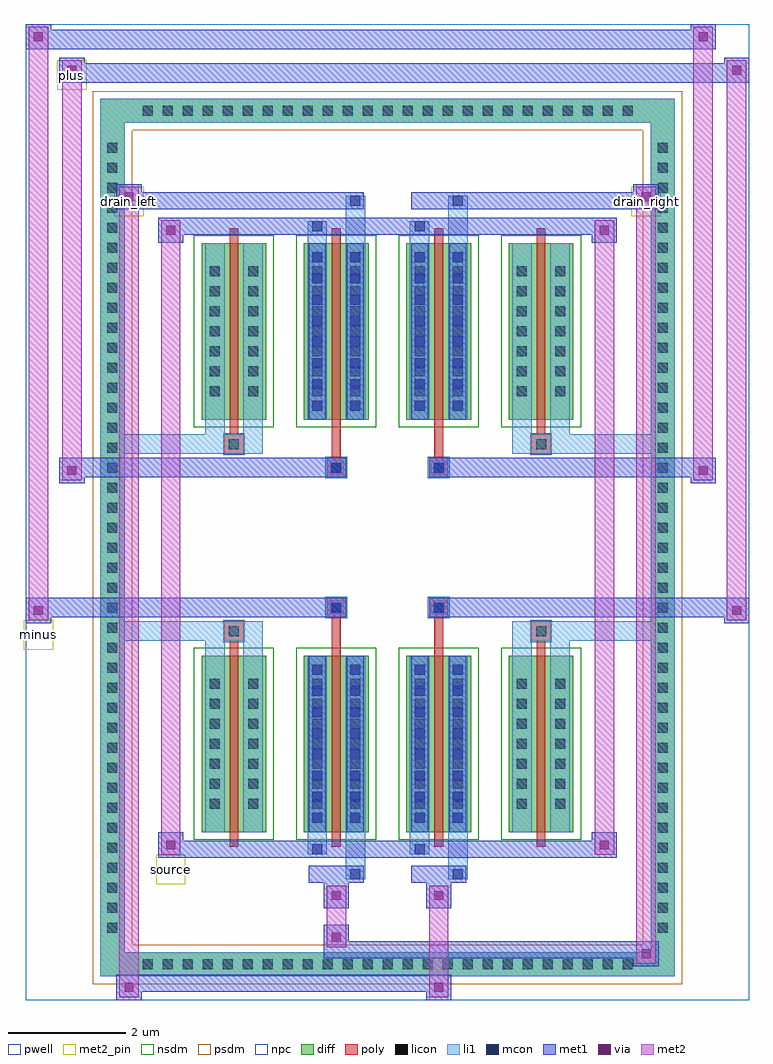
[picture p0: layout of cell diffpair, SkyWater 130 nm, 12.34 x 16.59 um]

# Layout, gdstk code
import gdstk
lib = gdstk.Library(unit=1e-6, precision=5e-09)
def R(c, l, rs):  # rectangles x0, y0, x1, y1
    for r in rs: c.add(gdstk.rectangle(r[:2], r[2:], *l))
def A(c, l, x, y, w, h, nx, ny, dx, dy):  # array of equal rectangles
    R(c, l, [(x+i*dx, y+j*dy, x+i*dx+w, y+j*dy+h) for i in range(nx) for j in range(ny)])
def P(c, l, *ps):  # polygons
    for p in ps: c.add(gdstk.Polygon(p, *l))
pwell = (64, 44)
diff = (65, 20)
poly = (66, 20)
licon = (66, 44)
li1 = (67, 20)
mcon = (67, 44)
met1 = (68, 20)
via = (68, 44)
met2_pin = (69, 16)
met2 = (69, 20)
nsdm = (93, 44)
psdm = (94, 20)
npc = (95, 20)

diffpair = lib.new_cell('diffpair')
R(diffpair, pwell, [(-6.15,-7.86,6.15,8.73), (-3.47,-6.05,-0.01,-0.825), (0.01,-6.05,3.47,-0.825), (-3.47,0.825,-0.01,6.05), (0.01,0.825,3.47,6.05)])
A(diffpair, diff, -4.285, -7.46, 0.41, 0.41, 25, 2, 0.34, 14.51)
A(diffpair, diff, -4.88, -6.835, 0.41, 0.41, 1, 40, 0, 0.34)
A(diffpair, diff, 4.47, -6.835, 0.41, 0.41, 1, 40, 0, 0.34)
A(diffpair, diff, -3.16, -5.005, 1.1, 3, 4, 2, 1.74, 7.01)
R(diffpair, diff, [(-4.285,-7.46,4.285,-7.05), (-4.88,-6.835,-4.47,6.835), (4.47,-6.835,4.88,6.835), (-4.285,7.05,4.285,7.46)])
P(diffpair, diff, [(4.88,7.46),(-4.88,7.46),(-4.88,-7.05),(-4.47,-7.05),(-4.47,7.05),(4.47,7.05),(4.47,-7.05),(-4.47,-7.05),(-4.88,-7.05),(-4.88,-7.46),(4.88,-7.46)])
A(diffpair, poly, -2.685, -5.255, 0.15, 3.5, 4, 2, 1.74, 7.01)
R(diffpair, poly, [(-2.775,-1.755,-2.445,-1.425), (-2.775,-1.755,-2.445,-1.425), (-0.945,-1.755,-0.795,-1.355), (0.795,-1.755,0.945,-1.355), (2.445,-1.755,2.775,-1.425), (2.445,-1.755,2.775,-1.425), (-1.035,-1.355,-0.705,-1.025), (-1.035,-1.355,-0.705,-1.025), (0.705,-1.355,1.035,-1.025), (0.705,-1.355,1.035,-1.025), (-1.035,1.025,-0.705,1.355), (-1.035,1.025,-0.705,1.355), (0.705,1.025,1.035,1.355), (0.705,1.025,1.035,1.355), (-0.945,1.355,-0.795,1.755), (0.795,1.355,0.945,1.755), (-2.775,1.425,-2.445,1.755), (-2.775,1.425,-2.445,1.755), (2.445,1.425,2.775,1.755), (2.445,1.425,2.775,1.755)])
A(diffpair, licon, -4.165, -7.34, 0.17, 0.17, 25, 2, 0.34, 14.51)
A(diffpair, licon, -4.76, -6.715, 0.17, 0.17, 1, 40, 0, 0.34)
A(diffpair, licon, 4.59, -6.715, 0.17, 0.17, 1, 40, 0, 0.34)
A(diffpair, licon, -3.02, -4.61, 0.17, 0.17, 1, 7, 0, 0.34)
A(diffpair, licon, -2.37, -4.61, 0.17, 0.17, 1, 7, 0, 0.34)
A(diffpair, licon, -1.28, -4.61, 0.17, 0.17, 1, 7, 0, 0.34)
A(diffpair, licon, -0.63, -4.61, 0.17, 0.17, 1, 7, 0, 0.34)
A(diffpair, licon, 0.46, -4.61, 0.17, 0.17, 1, 7, 0, 0.34)
A(diffpair, licon, 1.11, -4.61, 0.17, 0.17, 1, 7, 0, 0.34)
A(diffpair, licon, 2.2, -4.61, 0.17, 0.17, 1, 7, 0, 0.34)
A(diffpair, licon, 2.85, -4.61, 0.17, 0.17, 1, 7, 0, 0.34)
A(diffpair, licon, -3.02, 2.4, 0.17, 0.17, 1, 7, 0, 0.34)
A(diffpair, licon, -2.37, 2.4, 0.17, 0.17, 1, 7, 0, 0.34)
A(diffpair, licon, -1.28, 2.4, 0.17, 0.17, 1, 7, 0, 0.34)
A(diffpair, licon, -0.63, 2.4, 0.17, 0.17, 1, 7, 0, 0.34)
A(diffpair, licon, 0.46, 2.4, 0.17, 0.17, 1, 7, 0, 0.34)
A(diffpair, licon, 1.11, 2.4, 0.17, 0.17, 1, 7, 0, 0.34)
A(diffpair, licon, 2.2, 2.4, 0.17, 0.17, 1, 7, 0, 0.34)
A(diffpair, licon, 2.85, 2.4, 0.17, 0.17, 1, 7, 0, 0.34)
R(diffpair, licon, [(-2.695,-1.675,-2.525,-1.505), (2.525,-1.675,2.695,-1.505), (-0.955,-1.275,-0.785,-1.105), (0.785,-1.275,0.955,-1.105), (-0.955,1.105,-0.785,1.275), (0.785,1.105,0.955,1.275), (-2.695,1.505,-2.525,1.675), (2.525,1.505,2.695,1.675)])
A(diffpair, li1, -4.245, -7.42, 0.33, 0.33, 25, 2, 0.34, 14.51)
A(diffpair, li1, -4.84, -6.795, 0.33, 0.33, 1, 40, 0, 0.34)
A(diffpair, li1, 4.51, -6.795, 0.33, 0.33, 1, 40, 0, 0.34)
A(diffpair, li1, -1.28, -4.85, 0.17, 0.17, 1, 8, 0, 0.36)
A(diffpair, li1, -0.63, -4.85, 0.17, 0.17, 1, 8, 0, 0.36)
A(diffpair, li1, 0.46, -4.85, 0.17, 0.17, 1, 8, 0, 0.36)
A(diffpair, li1, 1.11, -4.85, 0.17, 0.17, 1, 8, 0, 0.36)
A(diffpair, li1, -3.1, -4.69, 0.33, 0.33, 1, 7, 0, 0.34)
A(diffpair, li1, -2.45, -4.69, 0.33, 0.33, 1, 7, 0, 0.34)
A(diffpair, li1, -1.36, -4.69, 0.33, 0.33, 1, 7, 0, 0.34)
A(diffpair, li1, -0.71, -4.69, 0.33, 0.33, 1, 7, 0, 0.34)
A(diffpair, li1, 0.38, -4.69, 0.33, 0.33, 1, 7, 0, 0.34)
A(diffpair, li1, 1.03, -4.69, 0.33, 0.33, 1, 7, 0, 0.34)
A(diffpair, li1, 2.12, -4.69, 0.33, 0.33, 1, 7, 0, 0.34)
A(diffpair, li1, 2.77, -4.69, 0.33, 0.33, 1, 7, 0, 0.34)
A(diffpair, li1, -1.28, 2.16, 0.17, 0.17, 1, 8, 0, 0.36)
A(diffpair, li1, -0.63, 2.16, 0.17, 0.17, 1, 8, 0, 0.36)
A(diffpair, li1, 0.46, 2.16, 0.17, 0.17, 1, 8, 0, 0.36)
A(diffpair, li1, 1.11, 2.16, 0.17, 0.17, 1, 8, 0, 0.36)
A(diffpair, li1, -3.1, 2.32, 0.33, 0.33, 1, 7, 0, 0.34)
A(diffpair, li1, -2.45, 2.32, 0.33, 0.33, 1, 7, 0, 0.34)
A(diffpair, li1, -1.36, 2.32, 0.33, 0.33, 1, 7, 0, 0.34)
A(diffpair, li1, -0.71, 2.32, 0.33, 0.33, 1, 7, 0, 0.34)
A(diffpair, li1, 0.38, 2.32, 0.33, 0.33, 1, 7, 0, 0.34)
A(diffpair, li1, 1.03, 2.32, 0.33, 0.33, 1, 7, 0, 0.34)
A(diffpair, li1, 2.12, 2.32, 0.33, 0.33, 1, 7, 0, 0.34)
A(diffpair, li1, 2.77, 2.32, 0.33, 0.33, 1, 7, 0, 0.34)
R(diffpair, li1, [(-4.88,-7.46,-4.47,-7.05), (-4.88,-7.46,-4.47,-7.05), (-4.47,-7.46,4.47,-7.05), (4.47,-7.46,4.88,-7.05), (4.47,-7.46,4.88,-7.05), (-4.88,-7.05,-4.47,7.05), (4.47,-7.05,4.88,7.05), (-0.71,-5.81,-0.38,-5.005), (-0.63,-5.81,-0.46,-5.64), (1.03,-5.81,1.36,-5.005), (1.11,-5.81,1.28,-5.64), (-1.36,-5.38,-1.03,-5.005), (-1.28,-5.38,-1.11,-5.21), (0.38,-5.38,0.71,-5.005), (0.46,-5.38,0.63,-5.21), (-3.1,-5.005,-2.77,-2.005), (-2.45,-5.005,-2.12,-2.005), (-1.36,-5.005,-1.03,-2.005), (-0.71,-5.005,-0.38,-2.005), (0.38,-5.005,0.71,-2.005), (1.03,-5.005,1.36,-2.005), (2.12,-5.005,2.45,-2.005), (2.77,-5.005,3.1,-2.005), (-1.28,-4.85,-1.11,-2.16), (-0.63,-4.85,-0.46,-2.16), (0.46,-4.85,0.63,-2.16), (1.11,-4.85,1.28,-2.16), (-3.1,-2.005,-2.77,-1.425), (-2.45,-2.005,-2.12,-1.425), (2.12,-2.005,2.45,-1.425), (2.77,-2.005,3.1,-1.425), (-4.88,-1.755,-2.775,-1.425), (-3.1,-1.755,-2.775,-1.425), (-2.775,-1.755,-2.445,-1.425), (-2.445,-1.755,-2.12,-1.425), (2.12,-1.755,2.445,-1.425), (2.445,-1.755,2.775,-1.425), (2.445,-1.755,4.88,-1.425), (2.775,-1.755,3.1,-1.425), (-1.035,-1.355,-0.705,-1.025), (0.705,-1.355,1.035,-1.025), (-1.035,1.025,-0.705,1.355), (0.705,1.025,1.035,1.355), (-4.88,1.425,-2.775,1.755), (-3.1,1.425,-2.775,1.755), (-3.1,1.425,-2.77,2.005), (-2.775,1.425,-2.445,1.755), (-2.45,1.425,-2.12,2.005), (-2.445,1.425,-2.12,1.755), (2.12,1.425,2.445,1.755), (2.12,1.425,2.45,2.005), (2.445,1.425,2.775,1.755), (2.445,1.425,4.88,1.755), (2.77,1.425,3.1,2.005), (2.775,1.425,3.1,1.755), (-3.1,2.005,-2.77,5.005), (-2.45,2.005,-2.12,5.005), (-1.36,2.005,-1.03,5.005), (-0.71,2.005,-0.38,5.005), (0.38,2.005,0.71,5.005), (1.03,2.005,1.36,5.005), (2.12,2.005,2.45,5.005), (2.77,2.005,3.1,5.005), (-1.28,2.16,-1.11,4.85), (-0.63,2.16,-0.46,4.85), (0.46,2.16,0.63,4.85), (1.11,2.16,1.28,4.85), (-1.36,5.005,-1.03,5.38), (-0.71,5.005,-0.38,5.81), (0.38,5.005,0.71,5.38), (1.03,5.005,1.36,5.81), (-1.28,5.21,-1.11,5.38), (0.46,5.21,0.63,5.38), (-0.63,5.64,-0.46,5.81), (1.11,5.64,1.28,5.81), (-4.88,7.05,-4.47,7.46), (-4.88,7.05,-4.47,7.46), (-4.47,7.05,4.47,7.46), (4.47,7.05,4.88,7.46), (4.47,7.05,4.88,7.46)])
A(diffpair, mcon, -1.28, -4.85, 0.17, 0.17, 1, 8, 0, 0.36)
A(diffpair, mcon, -0.63, -4.85, 0.17, 0.17, 1, 8, 0, 0.36)
A(diffpair, mcon, 0.46, -4.85, 0.17, 0.17, 1, 8, 0, 0.36)
A(diffpair, mcon, 1.11, -4.85, 0.17, 0.17, 1, 8, 0, 0.36)
A(diffpair, mcon, -1.28, 2.16, 0.17, 0.17, 1, 8, 0, 0.36)
A(diffpair, mcon, -0.63, 2.16, 0.17, 0.17, 1, 8, 0, 0.36)
A(diffpair, mcon, 0.46, 2.16, 0.17, 0.17, 1, 8, 0, 0.36)
A(diffpair, mcon, 1.11, 2.16, 0.17, 0.17, 1, 8, 0, 0.36)
R(diffpair, mcon, [(-0.63,-5.81,-0.46,-5.64), (1.11,-5.81,1.28,-5.64), (-1.28,-5.38,-1.11,-5.21), (0.46,-5.38,0.63,-5.21), (-0.955,-1.275,-0.785,-1.105), (0.785,-1.275,0.955,-1.105), (-0.955,1.105,-0.785,1.275), (0.785,1.105,0.955,1.275), (-1.28,5.21,-1.11,5.38), (0.46,5.21,0.63,5.38), (-0.63,5.64,-0.46,5.81), (1.11,5.64,1.28,5.81)])
A(diffpair, met1, -1.34, -4.91, 0.29, 0.29, 1, 8, 0, 0.36)
A(diffpair, met1, -0.69, -4.91, 0.29, 0.29, 1, 8, 0, 0.36)
A(diffpair, met1, 0.4, -4.91, 0.29, 0.29, 1, 8, 0, 0.36)
A(diffpair, met1, 1.05, -4.91, 0.29, 0.29, 1, 8, 0, 0.36)
A(diffpair, met1, -1.34, 2.1, 0.29, 0.29, 1, 8, 0, 0.36)
A(diffpair, met1, -0.69, 2.1, 0.29, 0.29, 1, 8, 0, 0.36)
A(diffpair, met1, 0.4, 2.1, 0.29, 0.29, 1, 8, 0, 0.36)
A(diffpair, met1, 1.05, 2.1, 0.29, 0.29, 1, 8, 0, 0.36)
R(diffpair, met1, [(-4.61,-7.86,-4.18,-7.43), (0.655,-7.86,1.085,-7.43), (-4.61,-7.72,1.085,-7.43), (4.18,-7.29,4.61,-6.86), (-1.085,-7.15,4.61,-6.86), (-1.085,-7.01,-0.655,-6.58), (-1.085,-6.3,-0.655,-5.87), (0.655,-6.3,1.085,-5.87), (-1.34,-5.87,-0.4,-5.58), (-0.69,-5.87,-0.4,-5.58), (0.4,-5.87,1.34,-5.58), (1.05,-5.87,1.34,-5.58), (-3.9,-5.44,-3.47,-5.01), (-3.9,-5.44,-1.34,-5.15), (-1.34,-5.44,-1.05,-5.15), (-1.34,-5.44,-0.4,-5.15), (-0.4,-5.44,0.4,-5.15), (0.4,-5.44,0.69,-5.15), (0.4,-5.44,1.34,-5.15), (1.34,-5.44,3.9,-5.15), (3.47,-5.44,3.9,-5.01), (-1.34,-5.005,-1.05,-2.005), (-0.69,-5.005,-0.4,-2.005), (0.4,-5.005,0.69,-2.005), (1.05,-5.005,1.34,-2.005), (-6.15,-1.455,-5.72,-1.025), (5.72,-1.455,6.15,-1.025), (-6.15,-1.355,-0.705,-1.025), (-1.035,-1.355,-0.705,-1.025), (0.705,-1.355,1.035,-1.025), (0.705,-1.355,6.15,-1.025), (-1.015,-1.335,-0.725,-1.045), (0.725,-1.335,1.015,-1.045), (-5.58,0.925,-5.15,1.355), (5.15,0.925,5.58,1.355), (-5.58,1.025,-1.035,1.355), (-1.035,1.025,-0.705,1.355), (0.705,1.025,1.035,1.355), (1.035,1.025,5.58,1.355), (-1.015,1.045,-0.725,1.335), (0.725,1.045,1.015,1.335), (-1.34,2.005,-1.05,5.005), (-0.69,2.005,-0.4,5.005), (0.4,2.005,0.69,5.005), (1.05,2.005,1.34,5.005), (-3.9,5.01,-3.47,5.44), (3.47,5.01,3.9,5.44), (-3.9,5.15,-1.34,5.44), (-1.34,5.15,-1.05,5.44), (-1.34,5.15,-0.4,5.44), (-0.4,5.15,0.4,5.44), (0.4,5.15,0.69,5.44), (0.4,5.15,1.34,5.44), (1.34,5.15,3.9,5.44), (-4.61,5.58,-4.18,6.01), (-4.61,5.58,-1.34,5.87), (-1.34,5.58,-0.4,5.87), (-0.69,5.58,-0.4,5.87), (0.4,5.58,1.34,5.87), (1.05,5.58,1.34,5.87), (1.34,5.58,4.61,5.87), (4.18,5.58,4.61,6.01), (-5.58,7.73,-5.15,8.16), (-5.58,7.73,-3.47,8.06), (-3.47,7.73,3.47,8.06), (3.47,7.73,6.15,8.06), (5.72,7.73,6.15,8.16), (-6.15,8.3,-5.72,8.73), (-6.15,8.3,-3.47,8.63), (-3.47,8.3,3.47,8.63), (3.47,8.3,5.58,8.63), (5.15,8.3,5.58,8.73)])
R(diffpair, via, [(-4.47,-7.72,-4.32,-7.57), (0.795,-7.72,0.945,-7.57), (4.32,-7.15,4.47,-7), (-0.945,-6.87,-0.795,-6.72), (-0.945,-6.16,-0.795,-6.01), (0.795,-6.16,0.945,-6.01), (-3.76,-5.3,-3.61,-5.15), (3.61,-5.3,3.76,-5.15), (-6.01,-1.315,-5.86,-1.165), (5.86,-1.315,6.01,-1.165), (-5.44,1.065,-5.29,1.215), (5.29,1.065,5.44,1.215), (-3.76,5.15,-3.61,5.3), (3.61,5.15,3.76,5.3), (-4.47,5.72,-4.32,5.87), (4.32,5.72,4.47,5.87), (-5.44,7.87,-5.29,8.02), (5.86,7.87,6.01,8.02), (-6.01,8.44,-5.86,8.59), (5.29,8.44,5.44,8.59)])
R(diffpair, met2_pin, [(-3.935,-5.89,-3.435,-5.39), (-6.185,-1.905,-5.685,-1.405), (-4.645,5.46,-4.145,5.96), (4.145,5.46,4.645,5.96), (-5.615,7.61,-5.115,8.11)])
R(diffpair, met2, [(-4.56,-7.81,-4.23,-7.48), (-4.56,-7.81,-4.23,5.96), (0.705,-7.81,1.035,-7.48), (0.705,-7.48,1.035,-6.25), (4.23,-7.24,4.56,-6.91), (4.23,-7.24,4.56,5.96), (-1.035,-6.96,-0.705,-6.63), (-1.035,-6.63,-0.705,-6.25), (-1.035,-6.25,-0.705,-5.92), (0.705,-6.25,1.035,-5.92), (-3.85,-5.39,-3.52,-5.06), (-3.85,-5.39,-3.52,5.39), (3.52,-5.39,3.85,-5.06), (3.52,-5.39,3.85,5.39), (-6.1,-1.405,-5.77,-1.075), (-6.1,-1.405,-5.77,8.68), (5.77,-1.405,6.1,-1.075), (5.77,-1.405,6.1,8.11), (-5.53,0.975,-5.2,1.305), (-5.53,0.975,-5.2,8.11), (5.2,0.975,5.53,1.305), (5.2,0.975,5.53,8.68), (-3.85,5.06,-3.52,5.39), (3.52,5.06,3.85,5.39), (-4.56,5.63,-4.23,5.96), (4.23,5.63,4.56,5.96), (-5.53,7.78,-5.2,8.11), (5.77,7.78,6.1,8.11), (-6.1,8.35,-5.77,8.68), (5.2,8.35,5.53,8.68)])
P(diffpair, met2, [(6.1,-1.405),(6.1,-1.405),(6.1,-1.075),(6.1,-1.075)],
  [(6.1,7.78),(6.1,7.78),(6.1,8.11),(6.1,8.11)],
  [(-5.77,-1.405),(-5.77,-1.405),(-5.77,-1.075),(-5.77,-1.075)],
  [(-5.77,8.35),(-5.77,8.35),(-5.77,8.68),(-5.77,8.68)],
  [(5.53,0.975),(5.53,0.975),(5.53,1.305),(5.53,1.305)],
  [(5.53,8.35),(5.53,8.35),(5.53,8.68),(5.53,8.68)],
  [(-5.2,0.975),(-5.2,0.975),(-5.2,1.305),(-5.2,1.305)],
  [(-5.2,7.78),(-5.2,7.78),(-5.2,8.11),(-5.2,8.11)],
  [(-4.23,-7.81),(-4.23,-7.81),(-4.23,-7.48),(-4.23,-7.48)],
  [(-4.23,5.63),(-4.23,5.63),(-4.23,5.96),(-4.23,5.96)],
  [(4.56,-7.24),(4.56,-7.24),(4.56,-6.91),(4.56,-6.91)],
  [(4.56,5.63),(4.56,5.63),(4.56,5.96),(4.56,5.96)],
  [(-3.52,-5.39),(-3.52,-5.39),(-3.52,-5.06),(-3.52,-5.06)],
  [(-3.52,5.06),(-3.52,5.06),(-3.52,5.39),(-3.52,5.39)],
  [(3.85,-5.39),(3.85,-5.39),(3.85,-5.06),(3.85,-5.06)],
  [(3.85,5.06),(3.85,5.06),(3.85,5.39),(3.85,5.39)])
A(diffpair, nsdm, -3.29, -5.135, 1.36, 3.26, 4, 2, 1.74, 7.01)
P(diffpair, psdm, [(5.01,7.59),(-5.01,7.59),(-5.01,-6.92),(-4.34,-6.92),(-4.34,6.92),(4.34,6.92),(4.34,-6.92),(-4.34,-6.92),(-5.01,-6.92),(-5.01,-7.59),(5.01,-7.59)])
R(diffpair, npc, [(-2.795,-1.775,-2.425,-1.405), (2.425,-1.775,2.795,-1.405), (-1.055,-1.375,-0.685,-1.005), (0.685,-1.375,1.055,-1.005), (-1.055,1.005,-0.685,1.375), (0.685,1.005,1.055,1.375), (-2.795,1.405,-2.425,1.775), (2.425,1.405,2.795,1.775)])
diffpair.add(gdstk.Label('minus', (-5.935,-1.655), layer=69, texttype=5))
diffpair.add(gdstk.Label('drain_right', (4.395,5.71), layer=69, texttype=5))
diffpair.add(gdstk.Label('drain_left', (-4.395,5.71), layer=69, texttype=5))
diffpair.add(gdstk.Label('source', (-3.685,-5.64), layer=69, texttype=5))
diffpair.add(gdstk.Label('plus', (-5.365,7.86), layer=69, texttype=5))

lib.write_gds('diffpair.gds')
